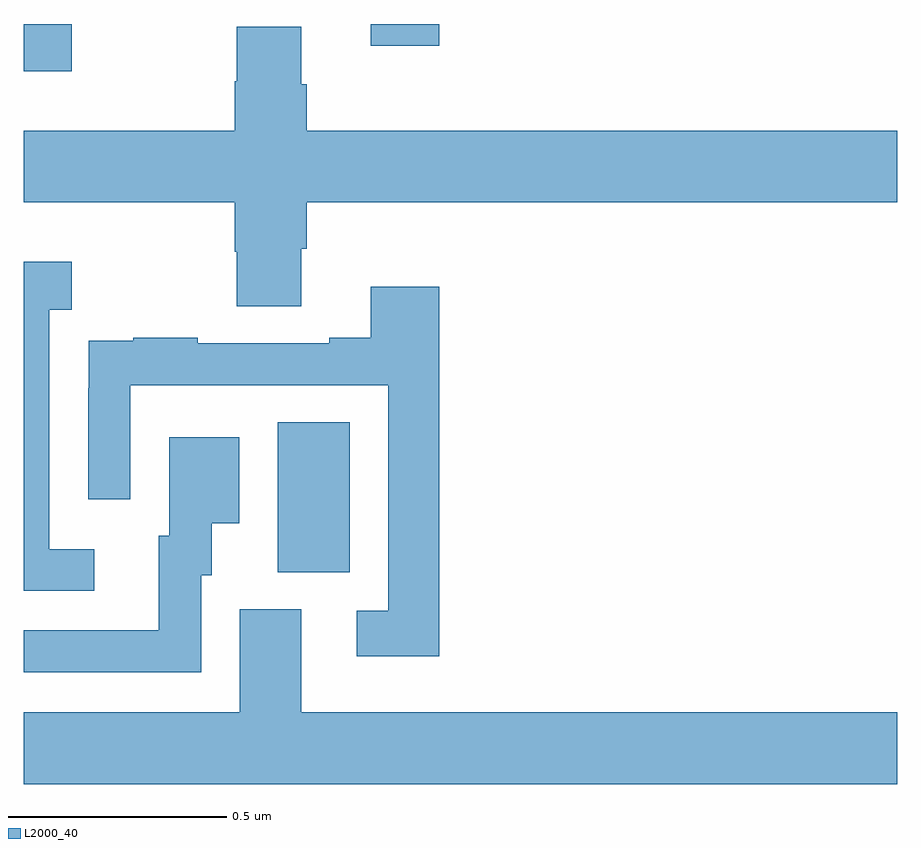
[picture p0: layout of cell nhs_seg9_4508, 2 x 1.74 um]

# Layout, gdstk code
import gdstk
lib = gdstk.Library(unit=1e-6, precision=1e-09)
def R(c, l, rs):  # rectangles x0, y0, x1, y1
    for r in rs: c.add(gdstk.rectangle(r[:2], r[2:], *l))
def P(c, l, *ps):  # polygons
    for p in ps: c.add(gdstk.Polygon(p, *l))
L2000_40 = (2000, 40)

nhs_seg9_4508 = lib.new_cell('nhs_seg9_4508')
R(nhs_seg9_4508, L2000_40, [(167.582,1190.245,167.746,1190.588), (167,1191.392,167.11,1191.5), (167.795,1191.45,167.951,1191.5)])
P(nhs_seg9_4508, L2000_40, [(167.635,1190.986),(167.648,1190.986),(167.648,1191.092),(169,1191.092),(169,1191.256),(167.648,1191.256),(167.648,1191.362),(167.635,1191.362),(167.635,1191.494),(167.488,1191.494),(167.488,1191.369),(167.483,1191.369),(167.483,1191.256),(167,1191.256),(167,1191.092),(167.483,1191.092),(167.483,1190.979),(167.488,1190.979),(167.488,1190.854),(167.635,1190.854)],
  [(167.161,1190.298),(167.058,1190.298),(167.058,1190.846),(167.11,1190.846),(167.11,1190.956),(167,1190.956),(167,1190.202),(167.161,1190.202)],
  [(167.951,1190.899),(167.795,1190.899),(167.795,1190.782),(167.699,1190.782),(167.699,1190.769),(167.399,1190.769),(167.399,1190.782),(167.251,1190.782),(167.251,1190.775),(167.149,1190.775),(167.149,1190.666),(167.148,1190.666),(167.148,1190.412),(167.244,1190.412),(167.244,1190.673),(167.835,1190.673),(167.835,1190.157),(167.763,1190.157),(167.763,1190.052),(167.951,1190.052)],
  [(167.406,1190.238),(167.431,1190.238),(167.431,1190.357),(167.494,1190.357),(167.494,1190.554),(167.333,1190.554),(167.333,1190.328),(167.309,1190.328),(167.309,1190.112),(167,1190.112),(167,1190.016),(167.406,1190.016)],
  [(169,1189.924),(167.635,1189.924),(167.635,1190.16),(167.495,1190.16),(167.495,1189.924),(167,1189.924),(167,1189.76),(169,1189.76)])

lib.write_gds('nhs_seg9_4508.gds')
